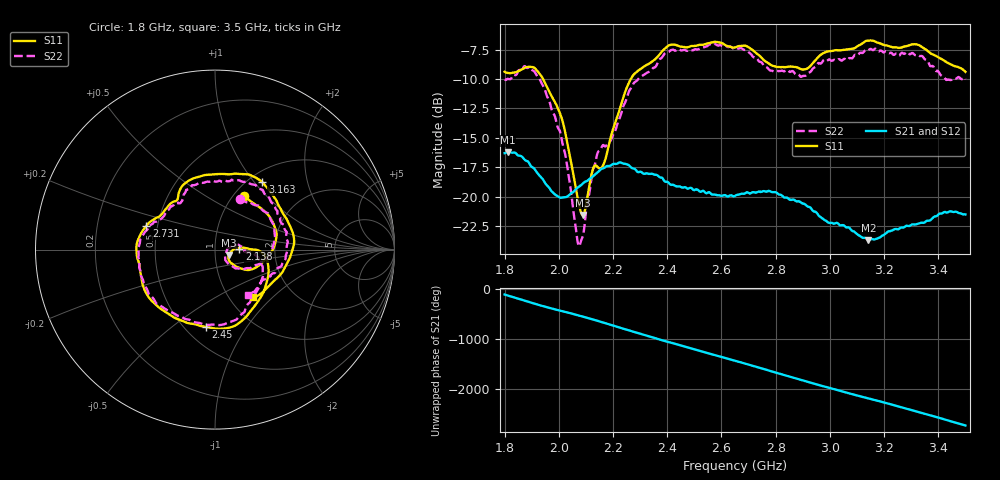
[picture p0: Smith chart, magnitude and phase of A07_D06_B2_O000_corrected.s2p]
! Created with skrf 1.9.0 (http://scikit-rf.org).
# Hz S RI R 50.0
!freq ReS11 ImS11 ReS21 ImS21 ReS12 ImS12 ReS22 ImS22
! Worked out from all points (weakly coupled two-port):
!   1601 points, 1.8 GHz to 3.5 GHz, reference 50 ohm
!   highest |S21| = -16.22 dB at 1.812 GHz (marker M1); lowest = -23.7 dB at 3.142 GHz (marker M2)
!   lowest |S11| = -21.6 dB at 2.089 GHz (marker M3), VSWR 1.18, Z = 58.3 - j3.54 ohm
!   |S11| at or under -10 dB: 1.942 GHz to 2.266 GHz (323.6 MHz wide, 15.4 % of centre)
!   |S22| runs from -24.2 to -7.0 dB; largest |S21 - S12| = 0.0026
!   S11 on the Smith chart (normalised r, x): 1.8 GHz: 1.12, +0.75; 2.138 GHz: 1.31, +0.01; 2.45 GHz: 0.63, -0.67; 2.731 GHz: 0.43, +0.14; 3.163 GHz: 1.16, +1.10; 3.5 GHz: 1.27, -0.77
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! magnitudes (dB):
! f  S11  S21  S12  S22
! 1.8 GHz  -9.4  -16.3  -16.3  -10.0
! 1.812 GHz  -9.5  -16.2  -16.2  -10.0
! 1.881 GHz  -9.0  -17.0  -17.0  -9.1
! 1.942 GHz  -10.0  -18.6  -18.6  -10.6
! 2.013 GHz  -13.5  -20.1  -20.1  -15.4
! 2.068 GHz  -19.9  -19.3  -19.3  -23.6
! 2.084 GHz  -21.4  -19.0  -18.9  -23.6
! 2.089 GHz  -21.6  -18.9  -18.9  -23.3
! 2.138 GHz  -17.4  -18.0  -18.0  -16.8
! 2.167 GHz  -17.2  -17.6  -17.5  -15.6
! 2.266 GHz  -10.0  -17.5  -17.5  -10.8
! 2.367 GHz  -8.0  -18.3  -18.2  -8.5
! 2.45 GHz  -7.3  -19.2  -19.2  -7.6
! 2.65 GHz  -7.3  -19.9  -19.9  -7.4
! 2.731 GHz  -7.9  -19.6  -19.7  -8.2
! 2.934 GHz  -8.7  -21.1  -21.1  -9.2
! 3.142 GHz  -6.7  -23.7  -23.6  -7.6
! 3.163 GHz  -6.8  -23.6  -23.6  -7.5
! 3.217 GHz  -7.2  -22.9  -22.9  -7.8
! 3.325 GHz  -7.1  -22.3  -22.3  -7.9
! 3.431 GHz  -8.6  -21.4  -21.3  -10.1
! 3.5 GHz  -9.4  -21.5  -21.5  -10.0
